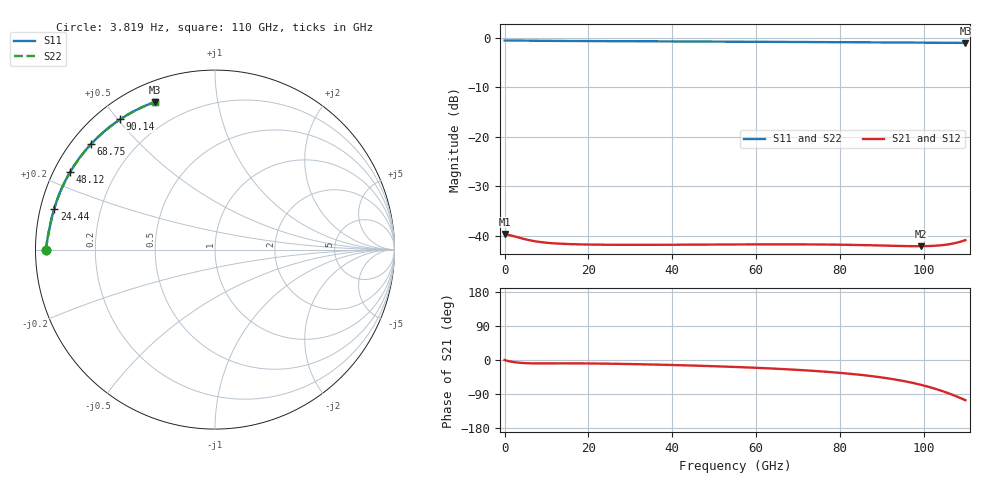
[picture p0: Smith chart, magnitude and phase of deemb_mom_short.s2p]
! Created Mon Apr 12 10:27:29 2010
# hz S ma R 50
! 2 Port Network Data from data block
! freq  magS11  angS11  magS21  angS21  magS12  angS12  magS22  angS22
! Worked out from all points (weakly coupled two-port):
!   88 points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, 3.819 Hz to 110 GHz, reference 50 ohm
!   highest |S21| = -39.63 dB at 38.19 MHz (marker M1); lowest = -42.1 dB at 99.31 GHz (marker M2)
!   lowest |S11| = -1.0 dB at 110 GHz (marker M3), VSWR 16.79, Z = 4.32 + j33.5 ohm
!   |S11| at or under -10 dB: nowhere
!   |S22| runs from -1.0 to -0.5 dB; largest |S21 - S12| = 0
!   S11 on the Smith chart (normalised r, x): 3.819 Hz: 0.03, +0.00; 24.44 GHz: 0.04, +0.13; 48.12 GHz: 0.05, +0.25; 68.75 GHz: 0.06, +0.37; 90.14 GHz: 0.07, +0.51; 110 GHz: 0.09, +0.67
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3.819444  0.9394 180.0  0.01044 -0.0  0.01044 -0.0  0.9394 180.0
3.819444e7  0.9394 180.0  0.01044 -0.2  0.01044 -0.2  0.9394 180.0
5.729167e9  0.9352 176.4  0.00909 -8.6  0.00909 -8.6  0.9352 176.4
7.638889e9  0.9333 175.2  0.008782 -8.9  0.008782 -8.9  0.9333 175.2
9.166667e9  0.932 174.4  0.008609 -8.9  0.008609 -8.9  0.932 174.4
1.222222e10  0.9297 172.6  0.008392 -8.8  0.008392 -8.8  0.9297 172.6
1.527778e10  0.928 170.9  0.008273 -8.8  0.008273 -8.8  0.928 170.9
2.138889e10  0.9254 167.4  0.008166 -9.3  0.008166 -9.3  0.9254 167.4
2.444444e10  0.9242 165.7  0.008144 -9.7  0.008144 -9.7  0.9242 165.7
3.666667e10  0.9199 158.7  0.008137 -12.3  0.008137 -12.3  0.9198 158.7
4.8125e10  0.9155 152.0  0.008174 -15.8  0.008174 -15.8  0.9155 152.0
5.729167e10  0.9118 146.5  0.008206 -19.4  0.008206 -19.4  0.9117 146.5
6.875e10  0.9069 139.6  0.008217 -25.3  0.008217 -25.3  0.9068 139.6
7.486111e10  0.9042 135.8  0.008195 -29.5  0.008195 -29.5  0.9041 135.8
8.25e10  0.9009 131.0  0.008123 -36.4  0.008123 -36.4  0.9008 131.0
9.013889e10  0.8975 126.0  0.007998 -46.3  0.007998 -46.3  0.8973 126.0
9.166667e10  0.8968 125.0  0.007969 -48.7  0.007969 -48.7  0.8966 125.0
9.930556e10  0.8932 119.8  0.007879 -65.3  0.007879 -65.3  0.8931 119.8
1.023611e11  0.8917 117.7  0.007942 -74.5  0.007942 -74.5  0.8915 117.7
1.054167e11  0.8901 115.5  0.008159 -85.6  0.008159 -85.6  0.8899 115.5
1.077083e11  0.8888 113.8  0.008498 -95.3  0.008498 -95.3  0.8887 113.8
1.1e11  0.8875 112.2  0.009075 -106.1  0.009075 -106.1  0.8874 112.1
